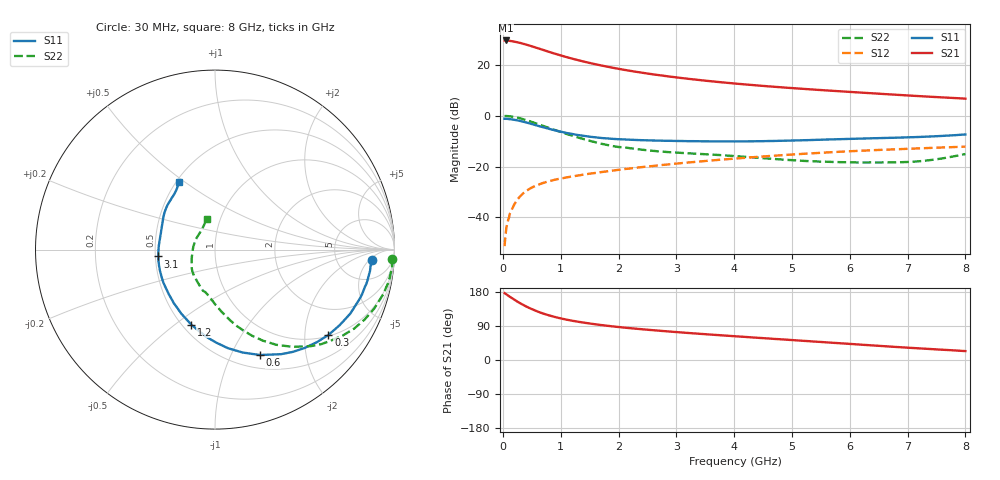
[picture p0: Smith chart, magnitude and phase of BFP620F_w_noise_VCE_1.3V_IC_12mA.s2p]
! Infineon Technologies  Discrete & RF Semiconductors
! BFP620F
! VCE =  1.3 V,  IC =  12 mA
! Common Emitter S-Parameters:  Dec 2014
# GHz  S  MA  R  50
!  f  S11  S21  S12  S22
! GHz  MAG  ANG  MAG  ANG  MAG  ANG  MAG  ANG
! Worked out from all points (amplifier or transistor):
!   95 points, 30 MHz to 8 GHz, reference 50 ohm
!   highest |S21| = 29.7 dB at 50 MHz (marker M1)
!   |S21| within 3 dB of that: start of sweep to 595.8 MHz
!   unconditionally stable (mu >= 1): 3.758 GHz to end of sweep
!   at 300 MHz: K = 0.18, MSG = 30.2 dB, |S12| = -31.7 dB
!   at 3.3 GHz: K = 0.98, MSG = 16.3 dB, |S12| = -18.2 dB
!   at 8 GHz: K = 1.08, MAG = 7.7 dB, |S12| = -12.2 dB
!   lowest NFmin = 0.64 dB at 450 MHz
!   S11 on the Smith chart (normalised r, x): 30 MHz: 12, -6; 300 MHz: 1.03, -2.63; 600 MHz: 0.65, -1.30; 1.2 GHz: 0.55, -0.57; 3.1 GHz: 0.52, -0.04; 8 GHz: 0.51, +0.48
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0.03  0.8739 -3.8  30.45 176.5  0.0027 90.9  0.9896 -2.9
0.05  0.8714 -6.4  30.53 174.3  0.0049 91.4  0.9903 -5.0
0.11  0.8601 -14.1  30.04 167.9  0.0103 83.3  0.9808 -11.3
0.2  0.8339 -25.3  28.87 159.1  0.0182 77.8  0.9456 -20.4
0.25  0.8124 -31.2  28.11 154.2  0.0223 75.8  0.92 -25.1
0.3  0.791 -37.0  27.27 149.8  0.026 72.2  0.8914 -29.6
0.4  0.7403 -47.9  25.39 141.5  0.0326 67.8  0.8231 -37.9
0.45  0.7156 -52.8  24.38 137.8  0.0357 65.5  0.793 -41.6
0.6  0.6385 -66.9  21.54 127.9  0.0434 60.9  0.6909 -51.6
0.7  0.5936 -75.0  19.79 122.4  0.0477 58.6  0.6311 -57.2
0.9  0.5176 -89.4  16.75 113.5  0.0551 55.5  0.5249 -66.5
1  0.4871 -96.0  15.49 109.8  0.0581 54.5  0.4811 -70.4
1.2  0.4384 -107.5  13.37 103.6  0.064 53.1  0.4063 -77.6
1.4  0.4029 -117.9  11.71 98.6  0.0695 52.3  0.3469 -84.1
1.6  0.377 -127.3  10.38 94.2  0.0749 51.7  0.3015 -90.4
1.9  0.3512 -139.5  8.853 88.7  0.0832 51.4  0.253 -99.7
2.7  0.3246 -163.9  6.327 77.4  0.1058 49.3  0.1989 -121.2
3.1  0.3188 -173.1  5.537 72.6  0.1172 48.1  0.1853 -129.3
4.1  0.3131 167.9  4.239 61.8  0.1462 44.1  0.1581 -145.4
5.4  0.3354 149.8  3.275 48.5  0.184 37.0  0.1268 -173.8
6.7  0.368 133.6  2.642 35.4  0.2168 28.6  0.1209 149.0
8  0.4289 117.9  2.182 23.5  0.2466 20.2  0.1764 105.4
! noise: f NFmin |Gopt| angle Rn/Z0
0.45  0.64  0.22  8  0.21
0.9  0.71  0.2  19  0.18
1.5  0.76  0.19  21  0.13
1.8  0.79  0.19  23  0.11
1.9  0.8  0.14  38  0.14
2.4  0.84  0.12  53  0.12
3.5  0.93  0.11  76  0.12
5.5  1.1  0.1  193  0.09
6  1.14  0.1  221  0.14
